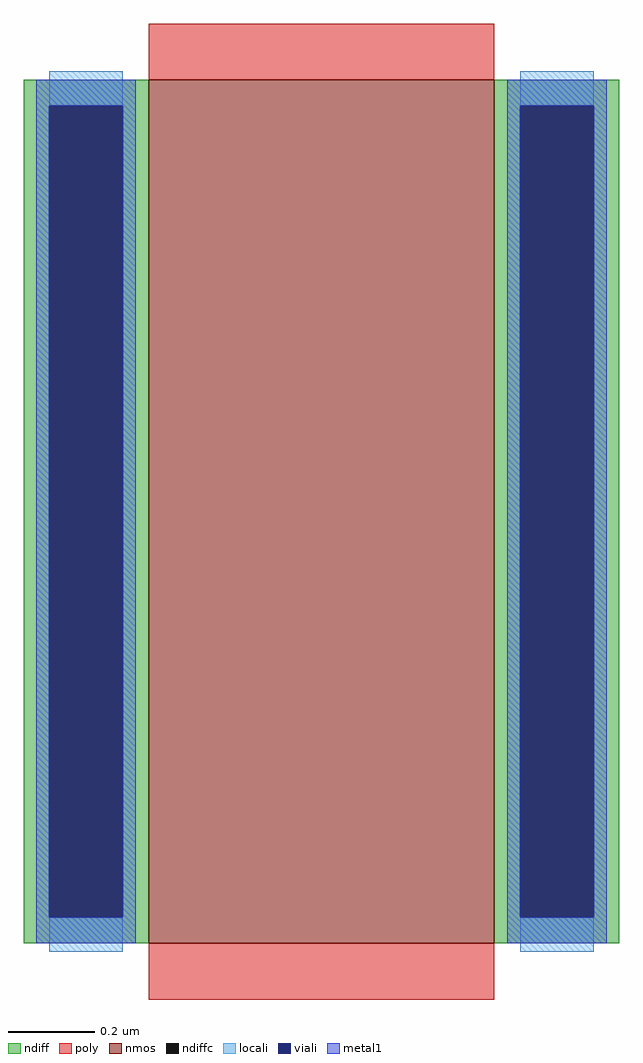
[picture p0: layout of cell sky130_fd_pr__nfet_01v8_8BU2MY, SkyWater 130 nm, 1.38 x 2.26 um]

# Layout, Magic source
magic
tech sky130A
<< nmos >>
rect -40 -100 40 100
<< ndiff >>
rect -69 94 -40 100
rect -69 -94 -63 94
rect -46 -94 -40 94
rect -69 -100 -40 -94
rect 40 94 69 100
rect 40 -94 46 94
rect 63 -94 69 94
rect 40 -100 69 -94
<< ndiffc >>
rect -63 -94 -46 94
rect 46 -94 63 94
<< poly >>
rect -40 100 40 113
rect -40 -113 40 -100
<< locali >>
rect -63 94 -46 102
rect -63 -102 -46 -94
rect 46 94 63 102
rect 46 -102 63 -94
<< viali >>
rect -63 -94 -46 94
rect 46 -94 63 94
<< metal1 >>
rect -66 94 -43 100
rect -66 -94 -63 94
rect -46 -94 -43 94
rect -66 -100 -43 -94
rect 43 94 66 100
rect 43 -94 46 94
rect 63 -94 66 94
rect 43 -100 66 -94
<< properties >>
string gencell sky130_fd_pr__nfet_01v8
string library sky130
string parameters w 2 l 0.8 m 1 nf 1 diffcov 100 polycov 100 guard 0 glc 0 grc 0 gtc 0 gbc 0 tbcov 100 rlcov 100 topc 0 botc 0 poverlap 0 doverlap 0 lmin 0.15 wmin 0.42 compatible {sky130_fd_pr__nfet_01v8 sky130_fd_pr__nfet_01v8_lvt  sky130_fd_bs_flash__special_sonosfet_star  sky130_fd_pr__nfet_g5v0d10v5 sky130_fd_pr__nfet_05v0_nvt  sky130_fd_pr__nfet_03v3_nvt} full_metal 0 viasrc 100 viadrn 100 viagate 100 viagb 0 viagr 0 viagl 0 viagt 0
<< end >>
